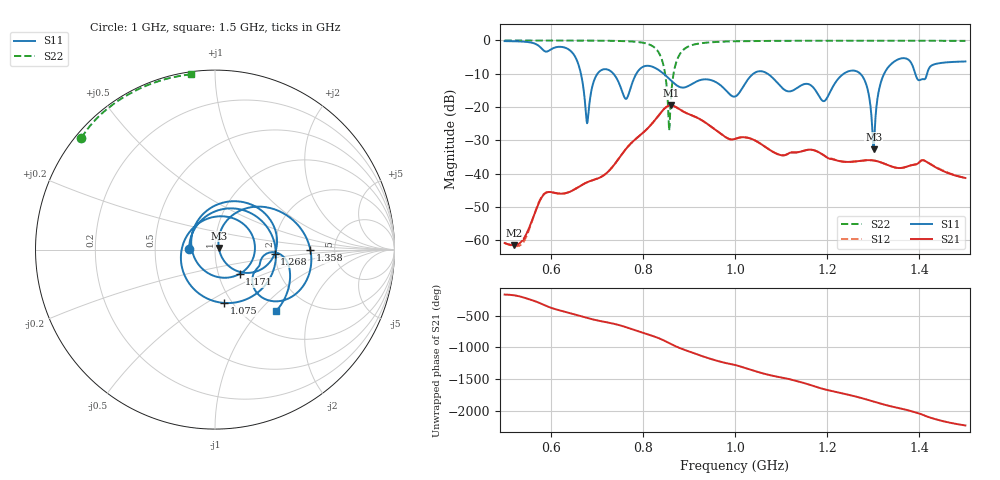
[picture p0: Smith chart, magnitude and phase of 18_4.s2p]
! TOUCHSTONE file generated by CST MICROWAVE STUDIO
! Date and time: Sat Nov 14 20:00:39 2020
! Project name: Scenario_1_Planar_Body_Tissue_Out_of_Line.cst
! Parameters = {dy1=51.9; L_HA=400; Ltissue=700; MT=2.54; Rad_Dielectric=30; Rad_Lower=7.3; Rad_Upper=30; Wtissue=700; a_HA=580; a_WG=246; b_HA=500; b_WG=121; c_HA=0; c_WG=187; d_feed=85; dx1=693; h_feed=15; h_lower=18; h_upper=40; hfat=3; hgap=25; hmuscle=50; hskin=1.5}
! Header version: 2018
! Port assignment regex: !\s*Touchstone port\s*([0-9]+)\s*=\s*(CST MWS port|CST DS port)\s*([0-9]+|Zmin|Zmax)\s*\(\"(.*)\"\)(\s*mode\s*([0-9]+))?.*
! Touchstone port assignment:
! Touchstone port 1 = CST MWS port 1 ("")
! Touchstone port 2 = CST MWS port 2 ("")
# GHz S DB R 50
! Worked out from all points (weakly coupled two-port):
!   1003 points, 500 MHz to 1.5 GHz, reference 50 ohm
!   highest |S21| = -19.52 dB at 861 MHz (marker M1); lowest = -61.4 dB at 520 MHz (marker M2)
!   lowest |S11| = -32.7 dB at 1.301 GHz (marker M3), VSWR 1.05, Z = 52.1 + j0.992 ohm
!   |S11| at or under -10 dB: 845.1 MHz to 1.04 GHz (194.6 MHz wide, 20.7 % of centre); 1.071 GHz to 1.236 GHz (165 MHz wide, 14.3 % of centre); 1.272 GHz to 1.324 GHz (51.64 MHz wide, 3.98 % of centre) (the widest 3 of 6)
!   |S22| runs from -27.0 to 0.0 dB; largest |S21 - S12| = 0.00046
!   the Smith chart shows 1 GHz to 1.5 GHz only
!   S11 on the Smith chart (normalised r, x): 1 GHz: 0.75, +0.01; 1.075 GHz: 0.92, -0.60; 1.171 GHz: 1.26, -0.36; 1.268 GHz: 1.99, -0.11; 1.358 GHz: 3.27, -0.04; 1.5 GHz: 1.39, -1.24
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0.5  -0.21 -121.5  -60.81 -171.1  -60.81 -171.1  -0.01 151.1
0.52  -0.24 -130.6  -61.45 177.6  -61.67 -173.2  -0.01 149.8
0.623  -1.94 171.8  -45.98 -66.4  -46.02 -66.0  -0.03 142.3
0.667  -10.90 96.4  -43.45 -153.0  -43.41 -153.3  -0.04 138.3
0.68  -24.44 160.5  -42.52 -179.3  -42.51 -179.5  -0.05 137.0
0.709  -8.99 161.7  -41.00 131.3  -41.00 131.3  -0.08 133.7
0.763  -17.53 -24.2  -32.63 38.3  -32.63 38.3  -0.23 124.7
0.797  -8.18 165.1  -28.12 -43.2  -28.12 -43.2  -0.61 113.8
0.834  -8.85 58.7  -22.53 -134.1  -22.53 -134.1  -3.53 82.8
0.861  -12.00 -26.1  -19.52 133.0  -19.52 133.0  -17.09 -126.7
0.888  -14.15 -134.2  -21.36 48.2  -21.36 48.2  -2.81 177.8
0.95  -12.00 5.9  -26.06 -106.6  -26.06 -106.6  -0.54 148.7
1  -16.85 178.3  -29.56 164.6  -29.56 164.6  -0.26 140.1
1.075  -10.41 -80.3  -32.82 6.2  -32.82 6.2  -0.14 131.9
1.129  -14.77 91.2  -33.66 -79.1  -33.58 -79.4  -0.11 127.2
1.167  -13.72 -30.1  -32.82 -157.8  -32.83 -157.8  -0.09 124.1
1.171  -14.30 -44.6  -32.94 -167.2  -32.94 -167.2  -0.09 123.8
1.268  -9.55 -4.2  -36.20 18.6  -36.20 18.6  -0.08 116.5
1.301  -32.73 24.3  -36.04 -49.6  -36.04 -49.6  -0.08 114.0
1.334  -7.80 32.8  -37.54 -116.3  -37.54 -116.3  -0.09 111.5
1.358  -5.48 -0.4  -38.31 -155.8  -38.31 -155.8  -0.09 109.6
1.5  -6.32 -45.0  -41.29 -63.8  -41.29 -63.8  -0.13 97.9
